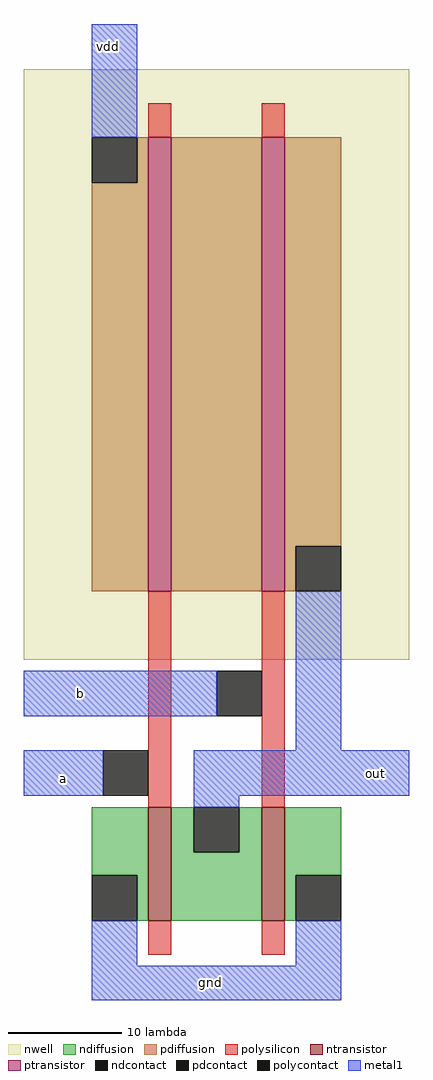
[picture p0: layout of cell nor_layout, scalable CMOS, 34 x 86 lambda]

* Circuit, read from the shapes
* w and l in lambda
.subckt nor_layout a b gnd out vdd
M1 out a gnd VSUBS nfet w=10 l=2
M2 gnd b out VSUBS nfet w=10 l=2
M3 n1 a vdd n2 pfet w=40 l=2
M4 out b n1 n2 pfet w=40 l=2
.ends

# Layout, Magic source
magic
tech scmos
<< nwell >>
rect 0 -20 34 32
<< ntransistor >>
rect 11 -43 13 -33
rect 21 -43 23 -33
<< ptransistor >>
rect 11 -14 13 26
rect 21 -14 23 26
<< ndiffusion >>
rect 6 -39 11 -33
rect 10 -43 11 -39
rect 13 -37 15 -33
rect 19 -37 21 -33
rect 13 -43 21 -37
rect 23 -39 28 -33
rect 23 -43 24 -39
<< pdiffusion >>
rect 10 22 11 26
rect 6 -14 11 22
rect 13 -14 21 26
rect 23 -10 28 26
rect 23 -14 24 -10
<< ndcontact >>
rect 6 -43 10 -39
rect 15 -37 19 -33
rect 24 -43 28 -39
<< pdcontact >>
rect 6 22 10 26
rect 24 -14 28 -10
<< polysilicon >>
rect 11 26 13 29
rect 21 26 23 29
rect 11 -33 13 -14
rect 21 -33 23 -14
rect 11 -46 13 -43
rect 21 -46 23 -43
<< polycontact >>
rect 7 -32 11 -28
rect 17 -25 21 -21
<< metal1 >>
rect 6 26 10 36
rect 0 -25 17 -21
rect 24 -28 28 -14
rect 0 -32 7 -28
rect 15 -32 34 -28
rect 15 -33 19 -32
rect 6 -47 10 -43
rect 24 -47 28 -43
rect 6 -50 28 -47
<< labels >>
rlabel metal1 3 -31 4 -30 3 a
rlabel metal1 4 -24 6 -22 3 b
rlabel metal1 30 -31 32 -29 7 out
rlabel metal1 7 33 8 35 5 vdd
rlabel metal1 16 -49 17 -48 1 gnd
<< end >>
